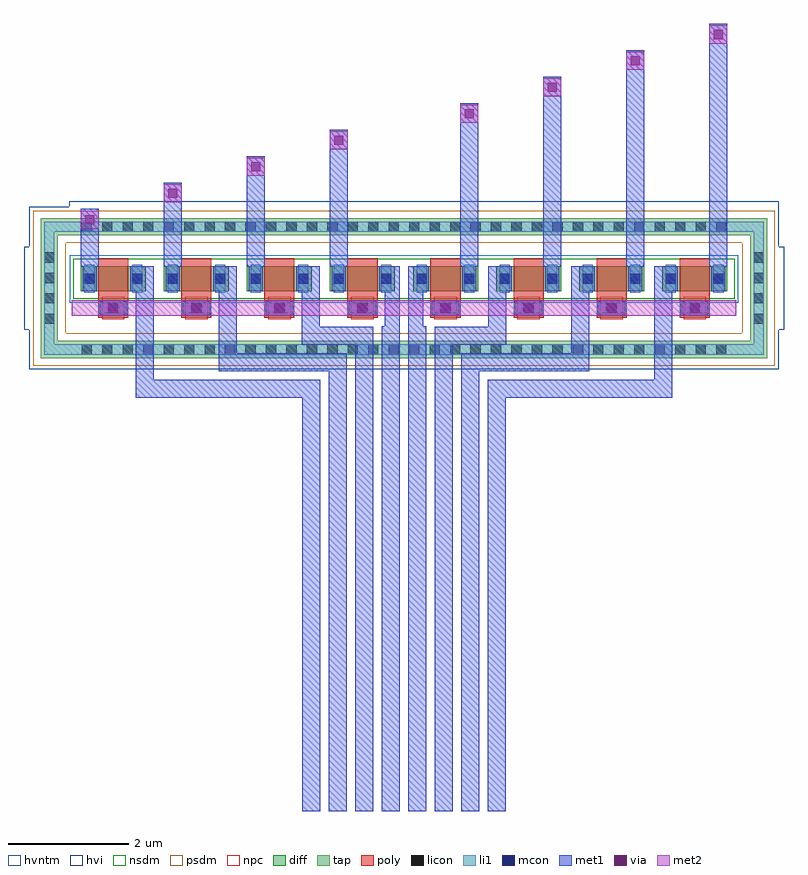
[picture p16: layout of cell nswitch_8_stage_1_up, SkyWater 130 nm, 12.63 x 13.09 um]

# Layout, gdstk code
import gdstk
lib = gdstk.Library(unit=1e-6, precision=1e-09)
def R(c, l, rs):  # rectangles x0, y0, x1, y1
    for r in rs: c.add(gdstk.rectangle(r[:2], r[2:], *l))
def A(c, l, x, y, w, h, nx, ny, dx, dy):  # array of equal rectangles
    R(c, l, [(x+i*dx, y+j*dy, x+i*dx+w, y+j*dy+h) for i in range(nx) for j in range(ny)])
diff = (65, 20)
tap = (65, 44)
poly = (66, 20)
licon = (66, 44)
li1 = (67, 20)
mcon = (67, 44)
met1 = (68, 20)
via = (68, 44)
met2 = (69, 20)
hvi = (75, 20)
nsdm = (93, 44)
psdm = (94, 20)
npc = (95, 20)
hvntm = (125, 20)

sky130_fd_pr__nfet_g5v0d = lib.new_cell('sky130_fd_pr__nfet_g5v0d10v5_NQHLCX')
R(sky130_fd_pr__nfet_g5v0d, diff, [(-0.54,-0.365,0.54,0.055)])
R(sky130_fd_pr__nfet_g5v0d, poly, [(-0.25,-0.495,0.25,0.495)])
R(sky130_fd_pr__nfet_g5v0d, licon, [(-0.48,-0.24,-0.31,-0.07), (0.31,-0.24,0.48,-0.07), (-0.085,0.245,0.085,0.415)])
R(sky130_fd_pr__nfet_g5v0d, li1, [(-0.48,-0.385,-0.31,0.075), (0.31,-0.385,0.48,0.075), (-0.25,0.245,0.25,0.415)])
R(sky130_fd_pr__nfet_g5v0d, mcon, [(-0.48,-0.24,-0.31,-0.07), (0.31,-0.24,0.48,-0.07), (-0.085,0.245,0.085,0.415)])
R(sky130_fd_pr__nfet_g5v0d, met1, [(-0.51,-0.365,-0.28,0.055), (0.28,-0.365,0.51,0.055), (-0.23,0.215,0.23,0.445)])
R(sky130_fd_pr__nfet_g5v0d, hvi, [(-0.725,-0.575,0.725,0.265)])
R(sky130_fd_pr__nfet_g5v0d, nsdm, [(-0.665,-0.49,0.665,0.18)])
R(sky130_fd_pr__nfet_g5v0d, npc, [(-0.185,0.145,0.185,0.515)])
R(sky130_fd_pr__nfet_g5v0d, hvntm, [(-0.725,-0.55,0.725,0.24)])

hnmos_1 = lib.new_cell('hnmos_1')
R(hnmos_1, met1, [(0.325,0.71,0.645,0.97)])
R(hnmos_1, via, [(0.41,0.765,0.56,0.915)])
R(hnmos_1, met2, [(-0.205,0.71,1.175,0.97)])
hnmos_1.add(gdstk.Reference(sky130_fd_pr__nfet_g5v0d, (0.485,0.51)))

hnmos_2 = lib.new_cell('hnmos_2')
R(hnmos_2, nsdm, [(1.335,0.01,1.385,0.68)])
hnmos_2.add(gdstk.Reference(hnmos_1, (1.565,-0.01)))
hnmos_2.add(gdstk.Reference(hnmos_1, (0.185,-0.01)))

hnmos_4 = lib.new_cell('hnmos_4')
R(hnmos_4, nsdm, [(2.695,0.005,2.745,0.675)])
hnmos_4.add(gdstk.Reference(hnmos_2, (2.74,-0.005)))
hnmos_4.add(gdstk.Reference(hnmos_2, (-0.02,-0.005)))

hnmos_8 = lib.new_cell('hnmos_8')
R(hnmos_8, tap, [(-0.505,-0.72,11.575,-0.43), (-0.505,-0.43,-0.215,1.32), (11.285,-0.43,11.575,1.32), (-0.505,1.32,11.575,1.61)])
A(hnmos_8, licon, 0.18, -0.66, 0.17, 0.17, 32, 2, 0.34, 2.04)
A(hnmos_8, licon, -0.445, -0.15, 0.17, 0.17, 1, 4, 0, 0.34)
A(hnmos_8, licon, 11.345, -0.15, 0.17, 0.17, 1, 4, 0, 0.34)
R(hnmos_8, li1, [(-0.445,-0.66,11.515,-0.49), (-0.445,-0.49,-0.275,1.38), (11.345,-0.49,11.515,1.38), (-0.445,1.38,11.515,1.55)])
R(hnmos_8, hvi, [(-0.03,-0.995,11.76,-0.905), (-0.69,-0.905,11.76,-0.245), (-0.78,-0.245,11.85,-0.13), (-0.78,-0.13,0.06,0.71), (11.01,-0.13,11.85,0.71), (-0.78,0.71,11.85,1.135), (-0.69,1.135,11.76,1.795)])
R(hnmos_8, nsdm, [(5.51,-0.045,5.56,0.625)])
R(hnmos_8, psdm, [(-0.63,-0.845,11.7,-0.305), (-0.63,-0.305,-0.09,1.195), (11.16,-0.305,11.7,1.195), (-0.63,1.195,11.7,1.735)])
hnmos_8.add(gdstk.Reference(hnmos_4, (5.575,-0.05)))
hnmos_8.add(gdstk.Reference(hnmos_4, (0.055,-0.05)))

nswitch_8_stage_1_up = lib.new_cell('nswitch_8_stage_1_up')
R(nswitch_8_stage_1_up, met1, [(152.145,-49.06,152.445,-42.19), (152.585,-49.06,152.885,-41.75), (153.025,-49.06,153.325,-41.31), (153.465,-49.06,153.765,-40.995), (153.905,-49.06,154.205,-40.995), (154.345,-49.06,154.645,-41.31), (154.785,-49.06,155.085,-41.75), (155.225,-49.06,155.525,-42.19), (149.375,-42.19,152.445,-41.89), (155.225,-42.19,158.295,-41.89), (149.375,-41.89,149.675,-40), (157.995,-41.89,158.295,-40), (150.755,-41.75,152.885,-41.45), (154.785,-41.75,156.915,-41.45), (150.755,-41.45,151.055,-40), (156.615,-41.45,156.915,-40), (152.135,-41.31,153.325,-41.01), (154.345,-41.31,155.535,-41.01), (152.135,-41.01,152.435,-40), (155.235,-41.01,155.535,-40), (153.515,-40.995,153.765,-40), (153.905,-40.995,154.155,-40), (148.46,-40,148.76,-39.05), (149.84,-40,150.14,-38.61), (151.22,-40,151.52,-38.17), (152.6,-40,152.9,-37.73), (154.77,-40,155.07,-37.29), (156.15,-40,156.45,-36.85), (157.53,-40,157.83,-36.41), (158.91,-40,159.21,-35.97)])
R(nswitch_8_stage_1_up, via, [(148.535,-39.305,148.685,-39.155), (149.915,-38.865,150.065,-38.715), (151.295,-38.425,151.445,-38.275), (152.675,-37.985,152.825,-37.835), (154.845,-37.545,154.995,-37.395), (156.225,-37.105,156.375,-36.955), (157.605,-36.665,157.755,-36.515), (158.985,-36.225,159.135,-36.075)])
R(nswitch_8_stage_1_up, met2, [(148.46,-39.38,148.76,-39.08), (149.84,-38.94,150.14,-38.64), (151.22,-38.5,151.52,-38.2), (152.6,-38.06,152.9,-37.76), (154.77,-37.62,155.07,-37.32), (156.15,-37.18,156.45,-36.88), (157.53,-36.74,157.83,-36.44), (158.91,-36.3,159.21,-36)])
nswitch_8_stage_1_up.add(gdstk.Reference(hnmos_8, (148.3,-39.92), x_reflection=True))

lib.write_gds('nswitch_8_stage_1_up.gds')
